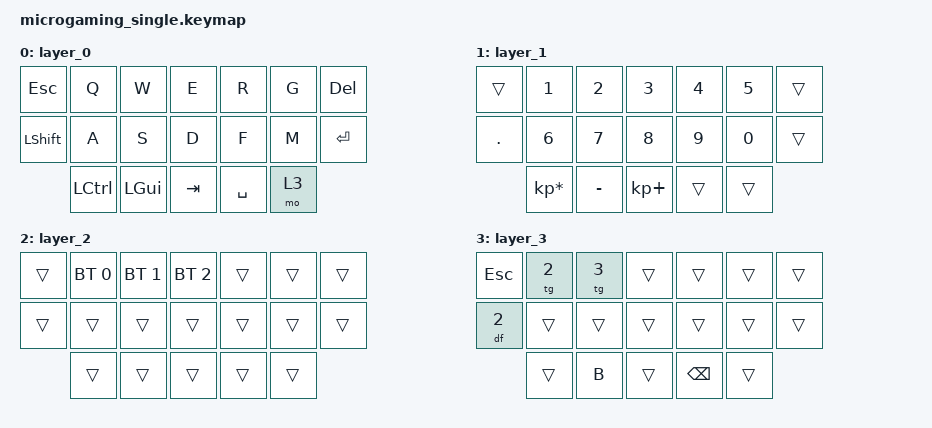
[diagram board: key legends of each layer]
#include <dt-bindings/zmk/keys.h>
#include <dt-bindings/zmk/bt.h>
#include <dt-bindings/zmk/layers.h>

 / {
     keymap {
         compatible = "zmk,keymap";

         layer_0 {
             bindings = <&kp ESC &kp Q &kp W &kp E &kp R &kp G &kp DEL>,
                        <&kp LSHFT &kp A &kp S &kp D &kp F &kp M &kp ENTER>,
                        <&kp LCTRL &kp LGUI &kp TAB &kp SPACE &mo 3>;
         };

         layer_1 {
             bindings = <&trans &kp N1 &kp N2 &kp N3 &kp N4 &kp N5 &trans>,
                        <&kp DOT &kp N6 &kp N7 &kp N8 &kp N9 &kp N0 &trans>,
                        <&kp KP_ASTERISK &kp MINUS &kp KP_PLUS &trans &trans>;
         };

         layer_2 {
             bindings = <&trans &bt BT_SEL 0 &bt BT_SEL 1 &bt BT_SEL 2 &trans &trans &trans>,
                        <&trans &trans &trans &trans &trans &trans &trans>,
                        <&trans &trans &trans &trans &trans>;
         };

         layer_3 {
             bindings = <&kp ESC &tg 2 &tg 3 &trans &trans &trans &trans>,
                        <&df 2 &trans &trans &trans &trans &trans &trans>,
                        <&trans &kp B &trans &kp BSPC &trans>;
         };
     };
 };
